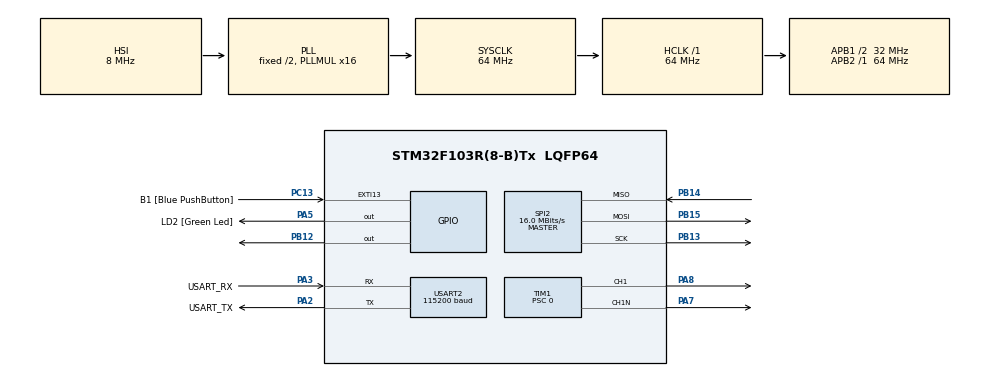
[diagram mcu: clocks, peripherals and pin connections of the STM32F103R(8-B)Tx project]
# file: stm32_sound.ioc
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Dma.Request0=TIM1_CH1
Dma.TIM1_CH1.0.Direction=DMA_MEMORY_TO_PERIPH
Dma.TIM1_CH1.0.Instance=DMA1_Channel2
Dma.TIM1_CH1.0.MemDataAlignment=DMA_MDATAALIGN_HALFWORD
Dma.TIM1_CH1.0.MemInc=DMA_MINC_ENABLE
Dma.TIM1_CH1.0.Mode=DMA_CIRCULAR
Dma.TIM1_CH1.0.PeriphDataAlignment=DMA_PDATAALIGN_HALFWORD
Dma.TIM1_CH1.0.PeriphInc=DMA_PINC_DISABLE
Dma.TIM1_CH1.0.Priority=DMA_PRIORITY_VERY_HIGH
Mcu.Family=STM32F1
Mcu.Name=STM32F103R(8-B)Tx
Mcu.Package=LQFP64
NVIC.DMA1_Channel2_IRQn=true\:0\:0\:false\:false\:true
NVIC.EXTI15_10_IRQn=true\:0\:0\:false\:false\:true
NVIC.PriorityGroup=NVIC_PRIORITYGROUP_4
NVIC.TIM2_IRQn=true\:0\:0\:false\:false\:true
PA13.GPIO_Label=TMS
PA13.Mode=Serial_Wire
PA13.Signal=SYS_JTMS-SWDIO
PA14.GPIO_Label=TCK
PA14.Mode=Serial_Wire
PA14.Signal=SYS_JTCK-SWCLK
PA2.GPIO_Label=USART_TX
PA2.GPIO_Mode=GPIO_MODE_AF_PP
PA2.GPIO_PuPd=GPIO_NOPULL
PA2.GPIO_Speed=GPIO_SPEED_FREQ_LOW
PA2.Mode=Asynchronous
PA2.Signal=USART2_TX
PA3.GPIO_Label=USART_RX
PA3.GPIO_Mode=GPIO_MODE_AF_PP
PA3.GPIO_PuPd=GPIO_NOPULL
PA3.GPIO_Speed=GPIO_SPEED_FREQ_LOW
PA3.Mode=Asynchronous
PA3.Signal=USART2_RX
PA5.GPIO_Label=LD2 [Green Led]
PA5.GPIO_ModeDefaultOutputPP=GPIO_MODE_OUTPUT_PP
PA5.GPIO_PuPd=GPIO_NOPULL
PA5.GPIO_Speed=GPIO_SPEED_FREQ_LOW
PA5.Signal=GPIO_Output
PA7.Mode=PWM Generation1 CH1 CH1N
PA7.Signal=TIM1_CH1N
PA8.Signal=S_TIM1_CH1
PB12.Signal=GPIO_Output
PB13.Mode=Full_Duplex_Master
PB13.Signal=SPI2_SCK
PB14.Mode=Full_Duplex_Master
PB14.Signal=SPI2_MISO
PB15.Mode=Full_Duplex_Master
PB15.Signal=SPI2_MOSI
PB3.GPIO_Label=SWO
PB3.Signal=SYS_JTDO-TRACESWO
PC13-TAMPER-RTC.GPIO_Label=B1 [Blue PushButton]
PC13-TAMPER-RTC.GPIO_ModeDefaultEXTI=GPIO_MODE_IT_FALLING
PC13-TAMPER-RTC.GPIO_PuPd=GPIO_NOPULL
PC13-TAMPER-RTC.Signal=GPXTI13
PC14-OSC32_IN.Signal=RCC_OSC32_IN
PC15-OSC32_OUT.Signal=RCC_OSC32_OUT
PD0-OSC_IN.Signal=RCC_OSC_IN
PD1-OSC_OUT.Signal=RCC_OSC_OUT
ProjectManager.HeapSize=0x200
ProjectManager.StackSize=0x400
ProjectManager.TargetToolchain=MDK-ARM V5
RCC.AHBFreq_Value=64000000
RCC.APB1CLKDivider=RCC_HCLK_DIV2
RCC.APB1Freq_Value=32000000
RCC.APB1TimFreq_Value=64000000
RCC.APB2Freq_Value=64000000
RCC.APB2TimFreq_Value=64000000
RCC.HCLKFreq_Value=64000000
RCC.PLLMUL=RCC_PLL_MUL16
RCC.SYSCLKFreq_VALUE=64000000
RCC.SYSCLKSource=RCC_SYSCLKSOURCE_PLLCLK
RCC.USBFreq_Value=64000000
SH.S_TIM1_CH1.0=TIM1_CH1,PWM Generation1 CH1 CH1N
SPI2.BaudRatePrescaler=SPI_BAUDRATEPRESCALER_2
SPI2.CalculateBaudRate=16.0 MBits/s
SPI2.Direction=SPI_DIRECTION_2LINES
SPI2.Mode=SPI_MODE_MASTER
SPI2.VirtualType=VM_MASTER
TIM1.Channel-PWM\ Generation1\ CH1\ CH1N=TIM_CHANNEL_1
TIM1.CounterMode=TIM_COUNTERMODE_UP
TIM1.Period=2047
TIM1.Prescaler=0
TIM1.Pulse-PWM\ Generation1\ CH1\ CH1N=1
TIM2.Period=10
TIM2.Prescaler=64000
USART2.BaudRate=115200
USART2.VirtualMode=VM_ASYNC
VP_FATFS_VS_Generic.Mode=User_defined
VP_TIM1_VS_ClockSourceINT.Mode=Internal
VP_TIM2_VS_ClockSourceINT.Mode=Internal
board=NUCLEO-F103RB

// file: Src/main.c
/**
  ******************************************************************************
  * File Name          : main.c
  * Description        : Main program body
  ******************************************************************************
  *
  * Copyright (c) 2017 STMicroelectronics International N.V.
  * All rights reserved.
  *
  * Redistribution and use in source and binary forms, with or without
  * modification, are permitted, provided that the following conditions are met:
  *
  * 1. Redistribution of source code must retain the above copyright notice,
  *    this list of conditions and the following disclaimer.
  * 2. Redistributions in binary form must reproduce the above copyright notice,
  *    this list of conditions and the following disclaimer in the documentation
  *    and/or other materials provided with the distribution.
  * 3. Neither the name of STMicroelectronics nor the names of other
  *    contributors to this software may be used to endorse or promote products
  *    derived from this software without specific written permission.
  * 4. This software, including modifications and/or derivative works of this
  *    software, must execute solely and exclusively on microcontroller or
  *    microprocessor devices manufactured by or for STMicroelectronics.
  * 5. Redistribution and use of this software other than as permitted under
  *    this license is void and will automatically terminate your rights under
  *    this license.
  *
  * THIS SOFTWARE IS PROVIDED BY STMICROELECTRONICS AND CONTRIBUTORS "AS IS"
  * AND ANY EXPRESS, IMPLIED OR STATUTORY WARRANTIES, INCLUDING, BUT NOT
  * LIMITED TO, THE IMPLIED WARRANTIES OF MERCHANTABILITY, FITNESS FOR A
  * PARTICULAR PURPOSE AND NON-INFRINGEMENT OF THIRD PARTY INTELLECTUAL PROPERTY
  * RIGHTS ARE DISCLAIMED TO THE FULLEST EXTENT PERMITTED BY LAW. IN NO EVENT
  * SHALL STMICROELECTRONICS OR CONTRIBUTORS BE LIABLE FOR ANY DIRECT, INDIRECT,
  * INCIDENTAL, SPECIAL, EXEMPLARY, OR CONSEQUENTIAL DAMAGES (INCLUDING, BUT NOT
  * LIMITED TO, PROCUREMENT OF SUBSTITUTE GOODS OR SERVICES; LOSS OF USE, DATA,
  * OR PROFITS; OR BUSINESS INTERRUPTION) HOWEVER CAUSED AND ON ANY THEORY OF
  * LIABILITY, WHETHER IN CONTRACT, STRICT LIABILITY, OR TORT (INCLUDING
  * NEGLIGENCE OR OTHERWISE) ARISING IN ANY WAY OUT OF THE USE OF THIS SOFTWARE,
  * EVEN IF ADVISED OF THE POSSIBILITY OF SUCH DAMAGE.
  *
  ******************************************************************************
  */
#include "main.h"
#include "stm32f1xx_hal.h"
#include "fatfs.h"

/* USER CODE BEGIN Includes */

#include <string.h>
#include <stdbool.h>

/* USER CODE END Includes */

SPI_HandleTypeDef hspi2;

TIM_HandleTypeDef htim1;
TIM_HandleTypeDef htim2;
DMA_HandleTypeDef hdma_tim1_ch1;

UART_HandleTypeDef huart2;

/* USER CODE BEGIN PV */
/* Private variables ---------------------------------------------------------*/

#define SIN_LOOKUP_TABLE_SIZE 360

const float sin_lookup_table[SIN_LOOKUP_TABLE_SIZE] = {
	0.0,0.01745240643728351,0.03489949670250097,0.05233595624294383,0.0697564737441253,0.08715574274765817,0.10452846326765346,0.12186934340514748,0.13917310096006544,0.15643446504023087,
	0.17364817766693033,0.1908089953765448,0.20791169081775931,0.224951054343865,0.24192189559966773,0.25881904510252074,0.27563735581699916,0.29237170472273677,0.3090169943749474,0.32556815445715664,
	0.3420201433256687,0.35836794954530027,0.374606593415912,0.3907311284892737,0.40673664307580015,0.42261826174069944,0.4383711467890774,0.45399049973954675,0.4694715627858908,0.48480962024633706,
	0.49999999999999994,0.5150380749100542,0.5299192642332049,0.5446390350150271,0.5591929034707469,0.573576436351046,0.5877852522924731,0.6018150231520483,0.6156614753256582,0.6293203910498374,
	0.6427876096865393,0.6560590289905072,0.6691306063588582,0.6819983600624985,0.6946583704589973,0.7071067811865475,0.7193398003386511,0.7313537016191705,0.7431448254773941,0.754709580222772,
	0.766044443118978,0.7771459614569708,0.788010753606722,0.7986355100472928,0.8090169943749475,0.8191520442889918,0.8290375725550417,0.8386705679454239,0.848048096156426,0.8571673007021122,
	0.8660254037844386,0.8746197071393957,0.8829475928589269,0.8910065241883678,0.898794046299167,0.9063077870366499,0.9135454576426009,0.9205048534524403,0.9271838545667874,0.9335804264972017,
	0.9396926207859083,0.9455185755993167,0.9510565162951535,0.9563047559630354,0.9612616959383189,0.9659258262890683,0.9702957262759965,0.9743700647852352,0.9781476007338056,0.981627183447664,
	0.984807753012208,0.9876883405951378,0.9902680687415703,0.992546151641322,0.9945218953682733,0.9961946980917455,0.9975640502598242,0.9986295347545738,0.9993908270190958,0.9998476951563913,
	1.0,0.9998476951563913,0.9993908270190958,0.9986295347545738,0.9975640502598242,0.9961946980917455,0.9945218953682734,0.9925461516413221,0.9902680687415704,0.9876883405951377,
	0.984807753012208,0.981627183447664,0.9781476007338057,0.9743700647852352,0.9702957262759965,0.9659258262890683,0.9612616959383189,0.9563047559630355,0.9510565162951536,0.9455185755993168,
	0.9396926207859084,0.9335804264972017,0.9271838545667874,0.9205048534524404,0.913545457642601,0.90630778703665,0.8987940462991669,0.8910065241883679,0.8829475928589271,0.8746197071393959,
	0.8660254037844387,0.8571673007021123,0.8480480961564261,0.8386705679454239,0.8290375725550417,0.819152044288992,0.8090169943749475,0.7986355100472927,0.788010753606722,0.777145961456971,
	0.766044443118978,0.7547095802227718,0.7431448254773942,0.7313537016191706,0.7193398003386514,0.7071067811865476,0.6946583704589971,0.6819983600624986,0.6691306063588583,0.6560590289905073,
	0.6427876096865395,0.6293203910498377,0.6156614753256584,0.6018150231520482,0.5877852522924732,0.5735764363510464,0.5591929034707469,0.544639035015027,0.5299192642332049,0.5150380749100544,
	0.49999999999999994,0.48480962024633717,0.4694715627858911,0.45399049973954686,0.4383711467890773,0.4226182617406995,0.40673664307580043,0.39073112848927416,0.37460659341591224,0.3583679495453002,
	0.3420201433256689,0.32556815445715703,0.3090169943749475,0.29237170472273705,0.27563735581699966,0.258819045102521,0.24192189559966773,0.22495105434386478,0.20791169081775931,0.19080899537654497,
	0.17364817766693028,0.15643446504023098,0.13917310096006574,0.12186934340514755,0.10452846326765373,0.08715574274765864,0.06975647374412552,0.05233595624294381,0.0348994967025007,0.01745240643728344,
	1.2246467991473532e-16,-0.017452406437283192,-0.0348994967025009,-0.05233595624294356,-0.06975647374412483,-0.08715574274765794,-0.10452846326765305,-0.12186934340514774,-0.13917310096006552,-0.15643446504023073,
	-0.17364817766693047,-0.19080899537654472,-0.20791169081775907,-0.22495105434386498,-0.2419218955996675,-0.25881904510252035,-0.275637355816999,-0.2923717047227364,-0.30901699437494773,-0.32556815445715676,
	-0.34202014332566866,-0.35836794954530043,-0.374606593415912,-0.39073112848927355,-0.4067366430757998,-0.4226182617406993,-0.43837114678907707,-0.45399049973954625,-0.46947156278589086,-0.48480962024633695,
	-0.5000000000000001,-0.5150380749100542,-0.5299192642332048,-0.5446390350150271,-0.5591929034707467,-0.5735764363510458,-0.587785252292473,-0.601815023152048,-0.6156614753256578,-0.6293203910498376,
	-0.6427876096865393,-0.6560590289905074,-0.6691306063588582,-0.6819983600624984,-0.6946583704589974,-0.7071067811865475,-0.7193398003386509,-0.7313537016191701,-0.743144825477394,-0.7547095802227717,
	-0.7660444431189779,-0.7771459614569711,-0.7880107536067221,-0.7986355100472928,-0.8090169943749473,-0.8191520442889916,-0.8290375725550414,-0.838670567945424,-0.848048096156426,-0.8571673007021121,
	-0.8660254037844384,-0.874619707139396,-0.882947592858927,-0.8910065241883678,-0.8987940462991668,-0.9063077870366497,-0.913545457642601,-0.9205048534524403,-0.9271838545667873,-0.9335804264972016,
	-0.9396926207859082,-0.9455185755993168,-0.9510565162951535,-0.9563047559630353,-0.961261695938319,-0.9659258262890683,-0.9702957262759965,-0.9743700647852351,-0.9781476007338056,-0.9816271834476639,
	-0.984807753012208,-0.9876883405951377,-0.9902680687415704,-0.9925461516413221,-0.9945218953682734,-0.9961946980917455,-0.9975640502598242,-0.9986295347545738,-0.9993908270190957,-0.9998476951563913,
	-1.0,-0.9998476951563913,-0.9993908270190958,-0.9986295347545738,-0.9975640502598243,-0.9961946980917455,-0.9945218953682734,-0.992546151641322,-0.9902680687415704,-0.9876883405951378,
	-0.9848077530122081,-0.9816271834476641,-0.9781476007338058,-0.9743700647852352,-0.9702957262759966,-0.9659258262890682,-0.9612616959383188,-0.9563047559630354,-0.9510565162951536,-0.945518575599317,
	-0.9396926207859085,-0.9335804264972021,-0.9271838545667874,-0.9205048534524405,-0.9135454576426008,-0.9063077870366499,-0.898794046299167,-0.8910065241883679,-0.8829475928589271,-0.8746197071393961,
	-0.8660254037844386,-0.8571673007021123,-0.8480480961564262,-0.8386705679454243,-0.8290375725550421,-0.8191520442889918,-0.8090169943749476,-0.798635510047293,-0.7880107536067218,-0.7771459614569708,
	-0.7660444431189781,-0.7547095802227722,-0.7431448254773946,-0.731353701619171,-0.7193398003386517,-0.7071067811865477,-0.6946583704589976,-0.6819983600624983,-0.6691306063588581,-0.6560590289905074,
	-0.6427876096865396,-0.6293203910498378,-0.6156614753256588,-0.6018150231520483,-0.5877852522924734,-0.5735764363510465,-0.5591929034707473,-0.544639035015027,-0.5299192642332058,-0.5150380749100545,
	-0.5000000000000004,-0.4848096202463369,-0.4694715627858908,-0.45399049973954697,-0.438371146789077,-0.4226182617407,-0.40673664307580015,-0.3907311284892747,-0.37460659341591235,-0.35836794954530077,
	-0.3420201433256686,-0.32556815445715753,-0.3090169943749476,-0.29237170472273627,-0.2756373558169998,-0.2588190451025207,-0.24192189559966787,-0.22495105434386534,-0.20791169081775987,-0.19080899537654467,
	-0.17364817766693127,-0.15643446504023112,-0.13917310096006588,-0.12186934340514811,-0.10452846326765342,-0.08715574274765832,-0.06975647374412476,-0.05233595624294437,-0.034899496702500823,-0.01745240643728445,
};

typedef struct
{
	uint16_t freq_hz;	//between 200 and 20khz
	uint16_t duration_ms;
	uint8_t volume;
} tone_t;

#define PWM_DMA_BUFFER_SIZE 1024
__IO uint16_t pwm_dma_buffer[PWM_DMA_BUFFER_SIZE];

#define PWM_FREQ 31250
#define PWM_PERIOD	1024

FATFS fatfs;
FIL MyFile;

#define FATFS_BUFFER_SIZE 512
uint8_t fatfs_buffer[FATFS_BUFFER_SIZE];
uint8_t header[44];

volatile bool pwm_dma_ready, pwm_dma_lower_half, end_of_file;

/* USER CODE END PV */

void SystemClock_Config(void);
void Error_Handler(void);
static void MX_GPIO_Init(void);
static void MX_DMA_Init(void);
static void MX_TIM1_Init(void);
static void MX_SPI2_Init(void);
static void MX_TIM2_Init(void);
static void MX_USART2_UART_Init(void);

void HAL_TIM_MspPostInit(TIM_HandleTypeDef *htim);

/* USER CODE BEGIN PFP */
/* Private function prototypes -----------------------------------------------*/

void HAL_TIM_PWM_PulseFinishedCallback(TIM_HandleTypeDef *htim)
{
	if(end_of_file)
	{
		HAL_TIM_PWM_Stop_DMA(&htim1, TIM_CHANNEL_1);
		HAL_TIMEx_PWMN_Stop(&htim1, TIM_CHANNEL_1);
	}
	pwm_dma_ready = true;
	pwm_dma_lower_half = false;
	HAL_GPIO_TogglePin(LD2_GPIO_Port, LD2_Pin);
}

void HAL_TIM_PWM_PulseHalfFinishedCallback(DMA_HandleTypeDef *hdma)
{
	if(end_of_file)
	{
		HAL_TIM_PWM_Stop_DMA(&htim1, TIM_CHANNEL_1);
		HAL_TIMEx_PWMN_Stop(&htim1, TIM_CHANNEL_1);
	}
	pwm_dma_ready = true;
	pwm_dma_lower_half = true;
	HAL_GPIO_TogglePin(LD2_GPIO_Port, LD2_Pin);
}

void play_tone(tone_t tone)
{
	uint16_t buffer_size = PWM_FREQ / tone.freq_hz;

	for(uint32_t i = 0; i < buffer_size; i++)
	{
		pwm_dma_buffer[i] = 128 + sin_lookup_table[i * SIN_LOOKUP_TABLE_SIZE / buffer_size] * tone.volume/2;
	}

	HAL_TIM_PWM_Start_DMA(&htim1, TIM_CHANNEL_1, (uint32_t *)pwm_dma_buffer, buffer_size);

	HAL_TIMEx_PWMN_Start(&htim1, TIM_CHANNEL_1);

	HAL_Delay(tone.duration_ms);

	HAL_TIM_PWM_Stop_DMA(&htim1, TIM_CHANNEL_1);
	HAL_TIMEx_PWMN_Stop(&htim1, TIM_CHANNEL_1);
}

void HAL_TIM_PeriodElapsedCallback(TIM_HandleTypeDef *htim)
{
	if(htim->Instance == TIM2)
	{
		disk_timerproc();
	}
}

#ifdef __GNUC__
  /* With GCC/RAISONANCE, small printf (option LD Linker->Libraries->Small printf
     set to 'Yes') calls __io_putchar() */
  #define PUTCHAR_PROTOTYPE int __io_putchar(int ch)
#else
  #define PUTCHAR_PROTOTYPE int fputc(int ch, FILE *f)
#endif /* __GNUC__ */

/**
  * @brief  Retargets the C library printf function to the USART.
  * @param  None
  * @retval None
  */
PUTCHAR_PROTOTYPE
{
	/* Place your implementation of fputc here */
	/* e.g. write a character to the USART */
	HAL_UART_Transmit(&huart2, (uint8_t *)&ch, 1, 100);

	return ch;
}

void pwm_dma_fill_buffer(uint8_t *wav_data, uint16_t data_size, bool lower_half)
{
	int32_t pcm_value;
	uint16_t buffer_start = lower_half ? 0 : FATFS_BUFFER_SIZE/2;

	for(uint16_t i = 0; i < data_size; i+=2)
	{
		pcm_value = (int32_t)(wav_data[i] + (wav_data[i+1]<<8));
		pwm_dma_buffer[i/2 + buffer_start] = ((uint16_t)(pcm_value + 32768))>>5;
	}
}

void playback(const char* path)
{
	if(f_open(&MyFile, path, FA_OPEN_EXISTING | FA_READ) != FR_OK)
	{
		printf("failed to open file\n");
		return;
	}
	printf("File opened\n");

	uint32_t bytesread;
	FRESULT res;

	//read header (44 bytes)
	res = f_read(&MyFile, header, sizeof(header), (UINT*)&bytesread);

	if((bytesread < sizeof(header)) || (res != FR_OK))
	{
		printf("Failed to read file\n");
		return;
	}

	uint16_t channels = header[22] + (header[23]<<8);
	uint32_t sample_rate = header[24] + (header[25]<<8) + (header[26]<<16) + (header[27]<<24);
	uint16_t bits_per_sample = header[34] + (header[35]<<8);

	printf("channels: %d\n", channels);
	printf("sample rate: %d\n", sample_rate);
	printf("bits per sample: %d\n", bits_per_sample);

	if(channels != 1 || sample_rate != 32000 || bits_per_sample != 16)
	{
		printf("Type of wav encoding is not supported in current version.\n");
		return;
	}

	uint32_t count = 0;

	//fill up pwm buffer before we start

	//lower half
	res = f_read(&MyFile, fatfs_buffer, FATFS_BUFFER_SIZE, (UINT*)&bytesread);
	if(res != FR_OK)
	{
		printf("Read failed, count: %d\n", count);
		end_of_file = true;
	}

	count++;
	pwm_dma_fill_buffer(fatfs_buffer, bytesread, true);

	//upper half
	res = f_read(&MyFile, fatfs_buffer, FATFS_BUFFER_SIZE, (UINT*)&bytesread);
	if(res != FR_OK)
	{
		printf("Read failed, count: %d\n", count);
		end_of_file = true;
	}

	count++;
	pwm_dma_fill_buffer(fatfs_buffer, bytesread, false);

	//start PWM, CH1 and CH1N
	HAL_TIM_PWM_Start_DMA(&htim1, TIM_CHANNEL_1, (uint32_t *)pwm_dma_buffer, FATFS_BUFFER_SIZE);
	HAL_TIMEx_PWMN_Start(&htim1, TIM_CHANNEL_1);

	pwm_dma_ready = false;

	//loop until the end of file
	while(end_of_file == false)
	{
		if(pwm_dma_ready)
		{
			res = f_read(&MyFile, fatfs_buffer, FATFS_BUFFER_SIZE, (UINT*)&bytesread);
			if(res != FR_OK)
			{
				printf("Read failed, count: %d\n", count);
				HAL_TIM_PWM_Stop_DMA(&htim1, TIM_CHANNEL_1);
				HAL_TIMEx_PWMN_Stop(&htim1, TIM_CHANNEL_1);
				return;
			}

			if(f_eof(&MyFile))
			{
				printf("end of file\n");
				end_of_file = true;
			}

			pwm_dma_fill_buffer(fatfs_buffer, bytesread, pwm_dma_lower_half);

			pwm_dma_ready = false;
			count++;
		}
	}
	printf("playback done\n");
}

/* USER CODE END PFP */

int main(void)
{

  /* MCU Configuration----------------------------------------------------------*/

  /* Reset of all peripherals, Initializes the Flash interface and the Systick. */
  HAL_Init();

  /* Configure the system clock */
  SystemClock_Config();

  /* Initialize all configured peripherals */
  MX_GPIO_Init();
  MX_DMA_Init();
  MX_TIM1_Init();
  MX_FATFS_Init();
  MX_SPI2_Init();
  MX_TIM2_Init();
  MX_USART2_UART_Init();

  /* USER CODE BEGIN 2 */

	printf("Up and running\r\n");

	htim1.hdma[TIM_DMA_ID_CC1]->XferHalfCpltCallback = HAL_TIM_PWM_PulseHalfFinishedCallback;
	HAL_TIM_Base_Start_IT(&htim2);

	if (f_mount(&fatfs, USER_Path, 0) != FR_OK)
	{
		printf("error in mounting disk\n");
	}
	else
	{
		printf("disk mounted\n");
		playback("test.wav");
	}

	//play_tone((tone_t){880, 1000, 64});
	//play_tone((tone_t){1000, 1000, 64});

  /* USER CODE END 2 */

  /* Infinite loop */
  while (1)
  {

  /* USER CODE BEGIN 3 */

		HAL_GPIO_TogglePin(LD2_GPIO_Port, LD2_Pin);
		HAL_Delay(500);

  }
  /* USER CODE END 3 */

}

/** System Clock Configuration
*/
void SystemClock_Config(void)
{

  RCC_OscInitTypeDef RCC_OscInitStruct;
  RCC_ClkInitTypeDef RCC_ClkInitStruct;

    /**Initializes the CPU, AHB and APB busses clocks
    */
  RCC_OscInitStruct.OscillatorType = RCC_OSCILLATORTYPE_HSI;
  RCC_OscInitStruct.HSIState = RCC_HSI_ON;
  RCC_OscInitStruct.HSICalibrationValue = 16;
  RCC_OscInitStruct.PLL.PLLState = RCC_PLL_ON;
  RCC_OscInitStruct.PLL.PLLSource = RCC_PLLSOURCE_HSI_DIV2;
  RCC_OscInitStruct.PLL.PLLMUL = RCC_PLL_MUL16;
  if (HAL_RCC_OscConfig(&RCC_OscInitStruct) != HAL_OK)
  {
    Error_Handler();
  }

    /**Initializes the CPU, AHB and APB busses clocks
    */
  RCC_ClkInitStruct.ClockType = RCC_CLOCKTYPE_HCLK|RCC_CLOCKTYPE_SYSCLK
                              |RCC_CLOCKTYPE_PCLK1|RCC_CLOCKTYPE_PCLK2;
  RCC_ClkInitStruct.SYSCLKSource = RCC_SYSCLKSOURCE_PLLCLK;
  RCC_ClkInitStruct.AHBCLKDivider = RCC_SYSCLK_DIV1;
  RCC_ClkInitStruct.APB1CLKDivider = RCC_HCLK_DIV2;
  RCC_ClkInitStruct.APB2CLKDivider = RCC_HCLK_DIV1;

  if (HAL_RCC_ClockConfig(&RCC_ClkInitStruct, FLASH_LATENCY_2) != HAL_OK)
  {
    Error_Handler();
  }

    /**Configure the Systick interrupt time
    */
  HAL_SYSTICK_Config(HAL_RCC_GetHCLKFreq()/1000);

    /**Configure the Systick
    */
  HAL_SYSTICK_CLKSourceConfig(SYSTICK_CLKSOURCE_HCLK);

  /* SysTick_IRQn interrupt configuration */
  HAL_NVIC_SetPriority(SysTick_IRQn, 0, 0);
}

/* SPI2 init function */
static void MX_SPI2_Init(void)
{

  hspi2.Instance = SPI2;
  hspi2.Init.Mode = SPI_MODE_MASTER;
  hspi2.Init.Direction = SPI_DIRECTION_2LINES;
  hspi2.Init.DataSize = SPI_DATASIZE_8BIT;
  hspi2.Init.CLKPolarity = SPI_POLARITY_LOW;
  hspi2.Init.CLKPhase = SPI_PHASE_1EDGE;
  hspi2.Init.NSS = SPI_NSS_SOFT;
  hspi2.Init.BaudRatePrescaler = SPI_BAUDRATEPRESCALER_2;
  hspi2.Init.FirstBit = SPI_FIRSTBIT_MSB;
  hspi2.Init.TIMode = SPI_TIMODE_DISABLE;
  hspi2.Init.CRCCalculation = SPI_CRCCALCULATION_DISABLE;
  hspi2.Init.CRCPolynomial = 10;
  if (HAL_SPI_Init(&hspi2) != HAL_OK)
  {
    Error_Handler();
  }

}

/* TIM1 init function */
static void MX_TIM1_Init(void)
{

  TIM_ClockConfigTypeDef sClockSourceConfig;
  TIM_MasterConfigTypeDef sMasterConfig;
  TIM_OC_InitTypeDef sConfigOC;
  TIM_BreakDeadTimeConfigTypeDef sBreakDeadTimeConfig;

  htim1.Instance = TIM1;
  htim1.Init.Prescaler = 0;
  htim1.Init.CounterMode = TIM_COUNTERMODE_UP;
  htim1.Init.Period = 2047;
  htim1.Init.ClockDivision = TIM_CLOCKDIVISION_DIV1;
  htim1.Init.RepetitionCounter = 0;
  if (HAL_TIM_Base_Init(&htim1) != HAL_OK)
  {
    Error_Handler();
  }

  sClockSourceConfig.ClockSource = TIM_CLOCKSOURCE_INTERNAL;
  if (HAL_TIM_ConfigClockSource(&htim1, &sClockSourceConfig) != HAL_OK)
  {
    Error_Handler();
  }

  if (HAL_TIM_PWM_Init(&htim1) != HAL_OK)
  {
    Error_Handler();
  }

  sMasterConfig.MasterOutputTrigger = TIM_TRGO_RESET;
  sMasterConfig.MasterSlaveMode = TIM_MASTERSLAVEMODE_DISABLE;
  if (HAL_TIMEx_MasterConfigSynchronization(&htim1, &sMasterConfig) != HAL_OK)
  {
    Error_Handler();
  }

  sConfigOC.OCMode = TIM_OCMODE_PWM1;
  sConfigOC.Pulse = 1;
  sConfigOC.OCPolarity = TIM_OCPOLARITY_HIGH;
  sConfigOC.OCNPolarity = TIM_OCNPOLARITY_HIGH;
  sConfigOC.OCFastMode = TIM_OCFAST_DISABLE;
  sConfigOC.OCIdleState = TIM_OCIDLESTATE_RESET;
  sConfigOC.OCNIdleState = TIM_OCNIDLESTATE_RESET;
  if (HAL_TIM_PWM_ConfigChannel(&htim1, &sConfigOC, TIM_CHANNEL_1) != HAL_OK)
  {
    Error_Handler();
  }

  sBreakDeadTimeConfig.OffStateRunMode = TIM_OSSR_DISABLE;
  sBreakDeadTimeConfig.OffStateIDLEMode = TIM_OSSI_DISABLE;
  sBreakDeadTimeConfig.LockLevel = TIM_LOCKLEVEL_OFF;
  sBreakDeadTimeConfig.DeadTime = 0;
  sBreakDeadTimeConfig.BreakState = TIM_BREAK_DISABLE;
  sBreakDeadTimeConfig.BreakPolarity = TIM_BREAKPOLARITY_HIGH;
  sBreakDeadTimeConfig.AutomaticOutput = TIM_AUTOMATICOUTPUT_DISABLE;
  if (HAL_TIMEx_ConfigBreakDeadTime(&htim1, &sBreakDeadTimeConfig) != HAL_OK)
  {
    Error_Handler();
  }

  HAL_TIM_MspPostInit(&htim1);

}

/* TIM2 init function */
static void MX_TIM2_Init(void)
{

  TIM_ClockConfigTypeDef sClockSourceConfig;
  TIM_MasterConfigTypeDef sMasterConfig;

  htim2.Instance = TIM2;
  htim2.Init.Prescaler = 64000;
  htim2.Init.CounterMode = TIM_COUNTERMODE_UP;
  htim2.Init.Period = 10;
  htim2.Init.ClockDivision = TIM_CLOCKDIVISION_DIV1;
  if (HAL_TIM_Base_Init(&htim2) != HAL_OK)
  {
    Error_Handler();
  }

  sClockSourceConfig.ClockSource = TIM_CLOCKSOURCE_INTERNAL;
  if (HAL_TIM_ConfigClockSource(&htim2, &sClockSourceConfig) != HAL_OK)
  {
    Error_Handler();
  }

  sMasterConfig.MasterOutputTrigger = TIM_TRGO_RESET;
  sMasterConfig.MasterSlaveMode = TIM_MASTERSLAVEMODE_DISABLE;
  if (HAL_TIMEx_MasterConfigSynchronization(&htim2, &sMasterConfig) != HAL_OK)
  {
    Error_Handler();
  }

}

/* USART2 init function */
static void MX_USART2_UART_Init(void)
{

  huart2.Instance = USART2;
  huart2.Init.BaudRate = 115200;
  huart2.Init.WordLength = UART_WORDLENGTH_8B;
  huart2.Init.StopBits = UART_STOPBITS_1;
  huart2.Init.Parity = UART_PARITY_NONE;
  huart2.Init.Mode = UART_MODE_TX_RX;
  huart2.Init.HwFlowCtl = UART_HWCONTROL_NONE;
  huart2.Init.OverSampling = UART_OVERSAMPLING_16;
  if (HAL_UART_Init(&huart2) != HAL_OK)
  {
    Error_Handler();
  }

}

static void MX_DMA_Init(void)
{
  /* DMA controller clock enable */
  __HAL_RCC_DMA1_CLK_ENABLE();

  /* DMA interrupt init */
  /* DMA1_Channel2_IRQn interrupt configuration */
  HAL_NVIC_SetPriority(DMA1_Channel2_IRQn, 0, 0);
  HAL_NVIC_EnableIRQ(DMA1_Channel2_IRQn);

}

/** Configure pins as
        * Analog
        * Input
        * Output
        * EVENT_OUT
        * EXTI
*/
static void MX_GPIO_Init(void)
{

  GPIO_InitTypeDef GPIO_InitStruct;

  /* GPIO Ports Clock Enable */
  __HAL_RCC_GPIOC_CLK_ENABLE();
  __HAL_RCC_GPIOD_CLK_ENABLE();
  __HAL_RCC_GPIOA_CLK_ENABLE();
  __HAL_RCC_GPIOB_CLK_ENABLE();

  /*Configure GPIO pin Output Level */
  HAL_GPIO_WritePin(LD2_GPIO_Port, LD2_Pin, GPIO_PIN_RESET);

  /*Configure GPIO pin Output Level */
  HAL_GPIO_WritePin(GPIOB, GPIO_PIN_12, GPIO_PIN_RESET);

  /*Configure GPIO pin : B1_Pin */
  GPIO_InitStruct.Pin = B1_Pin;
  GPIO_InitStruct.Mode = GPIO_MODE_IT_FALLING;
  GPIO_InitStruct.Pull = GPIO_NOPULL;
  HAL_GPIO_Init(B1_GPIO_Port, &GPIO_InitStruct);

  /*Configure GPIO pin : LD2_Pin */
  GPIO_InitStruct.Pin = LD2_Pin;
  GPIO_InitStruct.Mode = GPIO_MODE_OUTPUT_PP;
  GPIO_InitStruct.Speed = GPIO_SPEED_FREQ_LOW;
  HAL_GPIO_Init(LD2_GPIO_Port, &GPIO_InitStruct);

  /*Configure GPIO pin : PB12 */
  GPIO_InitStruct.Pin = GPIO_PIN_12;
  GPIO_InitStruct.Mode = GPIO_MODE_OUTPUT_PP;
  GPIO_InitStruct.Speed = GPIO_SPEED_FREQ_LOW;
  HAL_GPIO_Init(GPIOB, &GPIO_InitStruct);

  /* EXTI interrupt init*/
  HAL_NVIC_SetPriority(EXTI15_10_IRQn, 0, 0);
  HAL_NVIC_EnableIRQ(EXTI15_10_IRQn);

}

void Error_Handler(void)
{
  while(1)
  {
  }
}

/************************ (C) COPYRIGHT STMicroelectronics *****END OF FILE****/
